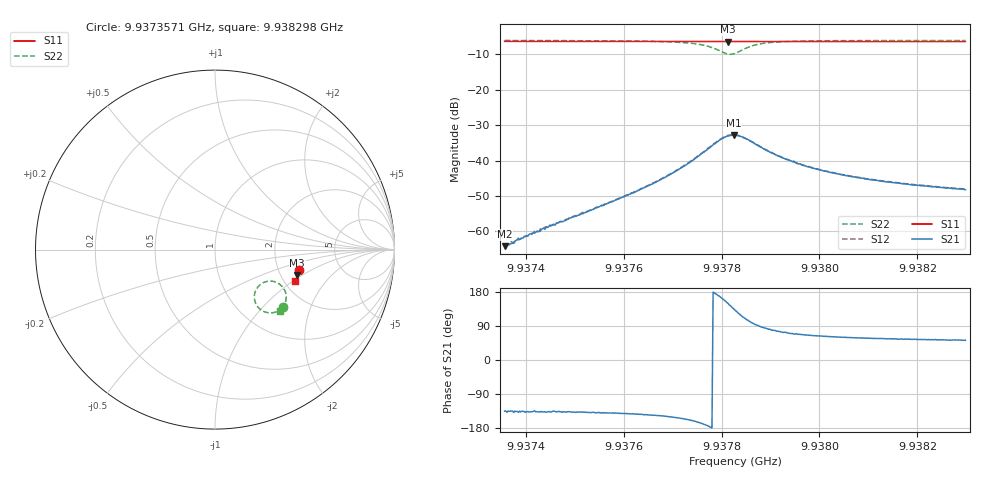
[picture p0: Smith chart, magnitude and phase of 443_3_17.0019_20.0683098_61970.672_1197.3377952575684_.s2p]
#  HZ  S  RI  R  50.00
! Rohde & Schwarz Vector Network Analyzer
! Rohde-Schwarz,ZNB20-2Port,1311601062101988,3.16
! Created: UTC 3/20/2024, 11:11:57 PM
! freq[Hz]  re:S11  im:S11  re:S21  im:S21  re:S12  im:S12  re:S22  im:S22
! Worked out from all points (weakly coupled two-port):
!   401 points, 9.9373571 GHz to 9.938298 GHz, reference 50 ohm
!   highest |S21| = -32.84 dB at 9.9378252 GHz (marker M1); lowest = -64.2 dB at 9.9373571 GHz (marker M2)
!   lowest |S11| = -6.4 dB at 9.9378134 GHz (marker M3), VSWR 2.84, Z = 123 - j44.9 ohm
!   |S11| at or under -10 dB: nowhere
!   |S22| runs from -10.0 to -6.1 dB; largest |S21 - S12| = 0.00095
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9.93735707e9  0.4701 -0.1122  -0.000437 -0.000437  -0.00046 -0.000455  0.3804 -0.3204
9.93736413e9  0.4698 -0.1127  -0.00047 -0.000477  -0.00049 -0.000421  0.3799 -0.3212
9.93738295e9  0.4696 -0.114  -0.000545 -0.000537  -0.000532 -0.000551  0.3786 -0.3224
9.93744646e9  0.4682 -0.1183  -0.000835 -0.000791  -0.000885 -0.000784  0.3727 -0.3274
9.93751468e9  0.4666 -0.1228  -0.0013 -0.00121  -0.0014 -0.00117  0.3653 -0.3332
9.93761347e9  0.4645 -0.1296  -0.00265 -0.00206  -0.0027 -0.00207  0.3486 -0.343
9.93767228e9  0.463 -0.1336  -0.00437 -0.00285  -0.00453 -0.00283  0.331 -0.3499
9.93772638e9  0.4613 -0.137  -0.00785 -0.00348  -0.00808 -0.00342  0.3003 -0.3524
9.93776402e9  0.4597 -0.1396  -0.0129 -0.00244  -0.0132 -0.00227  0.2594 -0.3383
9.93778049e9  0.459 -0.1405  -0.0162 -0.000173  -0.0165 0.000178  0.2364 -0.3166
9.93779695e9  0.4581 -0.141  -0.0191 0.0044  -0.0193 0.00496  0.2199 -0.2765
9.93781342e9  0.4574 -0.1413  -0.0191 0.0114  -0.019 0.0123  0.2303 -0.221
9.93782518e9  0.4574 -0.1414  -0.016 0.0163  -0.0158 0.017  0.2612 -0.1886
9.93782753e9  0.4574 -0.1414  -0.0152 0.017  -0.0149 0.0178  0.2689 -0.1843
9.93784635e9  0.4577 -0.1422  -0.00751 0.0193  -0.00695 0.0199  0.3316 -0.1787
9.93786282e9  0.4581 -0.1434  -0.00247 0.018  -0.00204 0.0182  0.3679 -0.199
9.93787928e9  0.458 -0.1444  0.0005 0.0156  0.000783 0.0157  0.386 -0.2225
9.93792868e9  0.4573 -0.1484  0.00309 0.0103  0.00337 0.0102  0.3963 -0.2708
9.93798514e9  0.456 -0.1523  0.00337 0.00709  0.00354 0.00714  0.3906 -0.2972
9.93805571e9  0.4542 -0.1571  0.0031 0.00527  0.00323 0.00529  0.3826 -0.3145
9.93814274e9  0.4518 -0.1627  0.00277 0.00413  0.0029 0.00411  0.374 -0.327
9.93829799e9  0.4475 -0.1727  0.00237 0.00307  0.00249 0.00308  0.3613 -0.3413
